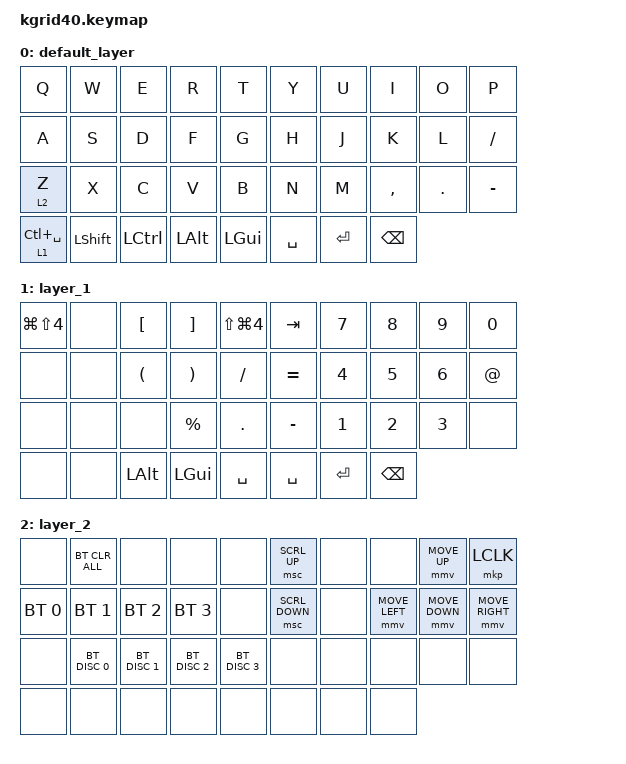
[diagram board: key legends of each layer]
#include <behaviors.dtsi>
#include <dt-bindings/zmk/bt.h>
#include <dt-bindings/zmk/keys.h>
#include <dt-bindings/zmk/pointing.h>

/ {
    keymap {
        compatible = "zmk,keymap";

        default_layer {
            bindings = <
&kp Q            &kp W      &kp E      &kp R         &kp T     &kp Y      &kp U      &kp I      &kp O    &kp P
&kp A            &kp S      &kp D      &kp F         &kp G     &kp H      &kp J      &kp K      &kp L    &kp SLASH
&lt 2 Z          &kp X      &kp C      &kp V         &kp B     &kp N      &kp M      &kp COMMA  &kp DOT  &kp MINUS
&lt 1 LC(SPACE)  &kp LSHFT  &kp LCTRL  &kp LEFT_ALT  &kp LGUI  &kp SPACE  &kp ENTER  &kp BSPC
            >;
        };

        layer_1 {
            bindings = <
&kp LG(LS(N4))  &none  &kp LBKT  &kp RBKT   &kp LS(LG(N4))  &kp TAB    &kp N7     &kp N8    &kp N9  &kp N0
&none           &none  &kp LPAR  &kp RPAR   &kp SLASH       &kp EQUAL  &kp N4     &kp N5    &kp N6  &kp AT
&none           &none  &none     &kp PRCNT  &kp PERIOD      &kp MINUS  &kp N1     &kp N2    &kp N3  &none
&none           &none  &kp LALT  &kp LGUI   &kp SPACE       &kp SPACE  &kp ENTER  &kp BSPC
            >;
        };

        layer_2 {
            bindings = <
&none         &bt BT_CLR_ALL  &none          &none          &none          &msc SCRL_UP    &none  &none           &mmv MOVE_UP    &mkp LCLK
&bt BT_SEL 0  &bt BT_SEL 1    &bt BT_SEL 2   &bt BT_SEL 3   &none          &msc SCRL_DOWN  &none  &mmv MOVE_LEFT  &mmv MOVE_DOWN  &mmv MOVE_RIGHT
&none         &bt BT_DISC 0   &bt BT_DISC 1  &bt BT_DISC 2  &bt BT_DISC 3  &none           &none  &none           &none           &none
&none         &none           &none          &none          &none          &none           &none  &none
            >;
        };
    };
};
